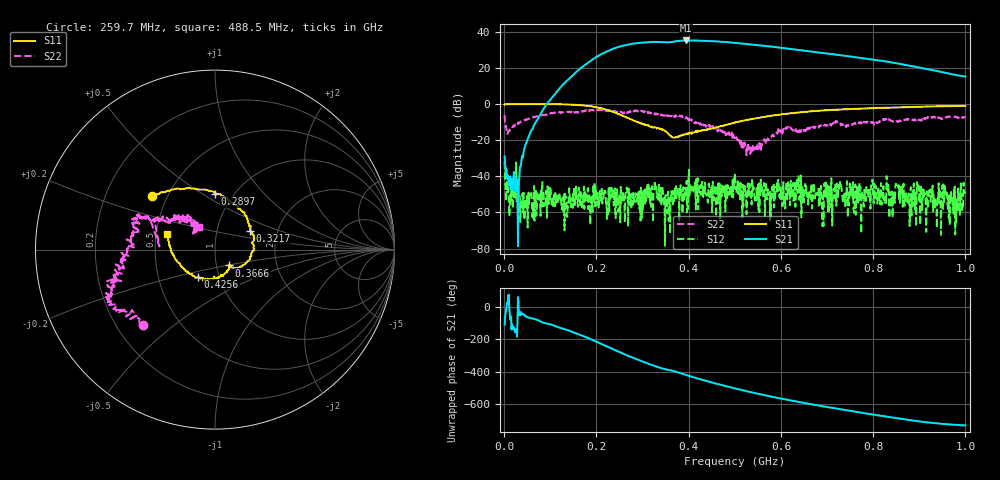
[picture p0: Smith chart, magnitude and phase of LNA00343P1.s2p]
! Created with skrf 1.9.0 (http://scikit-rf.org).
# Hz S RI R 50.0
!freq ReS11 ImS11 ReS21 ImS21 ReS12 ImS12 ReS22 ImS22
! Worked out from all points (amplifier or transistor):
!   1001 points, 1 MHz to 1 GHz, reference 50 ohm
!   highest |S21| = 35.3 dB at 394.6 MHz (marker M1)
!   |S21| within 3 dB of that: 256.4 MHz to 565.3 MHz (308.8 MHz wide, 75.2 % of centre)
!   unconditionally stable (mu >= 1): start of sweep to 81.26 MHz; 252.8 MHz to 326.6 MHz; 400.7 MHz to end of sweep (the widest 3 of 30)
!   at 166.8 MHz: K = 0.89, MSG = 35.4 dB, |S12| = -50.7 dB
!   at 500.5 MHz: K = 1.01, MAG = 35.5 dB, |S12| = -38.3 dB
!   at 1 GHz: K = 3.90, MAG = 23.0 dB, |S12| = -48.4 dB
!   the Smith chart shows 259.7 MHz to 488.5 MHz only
!   S11 on the Smith chart (normalised r, x): 259.7 MHz: 0.41, +0.31; 289.7 MHz: 0.82, +0.57; 321.7 MHz: 1.44, +0.32; 366.6 MHz: 1.15, -0.21; 425.6 MHz: 0.80, -0.25; 488.5 MHz: 0.57, +0.11
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1000000  0.9745 -0.00079  -0.0133 -0.0331  -0.0162 0.0186  0.3537 0.3505
1.08892e8  0.5113 -0.8513  -0.8527 -1.596  -0.00148 0.00116  0.4314 -0.3682
1.67833e8  -0.2462 -0.8936  -10.36 -0.4835  0.00272 -0.00111  0.0529 -0.6306
1.96804e8  -0.5925 -0.5833  -16.08 10.25  0.00123 -0.000832  -0.1267 -0.6974
2.15785e8  -0.685 -0.2728  -14.6 21.58  -0.00176 -0.00265  -0.2036 -0.6426
2.39761e8  -0.572 0.1028  -1.755 35.43  -0.00167 -0.00433  -0.3077 -0.5491
2.59741e8  -0.3485 0.2974  15.77 38.74  -0.000994 -0.00254  -0.401 -0.4183
2.89711e8  -0.000133 0.3098  40.91 26.97  0.000536 -0.00266  -0.5729 -0.2454
3.21679e8  0.195 0.1064  52.67 -0.7801  0.00236 -0.00187  -0.5533 -0.1653
3.34666e8  0.2168 0.00308  51.21 -12.07  -0.00119 0.00367  -0.5002 -0.0581
3.66634e8  0.0786 -0.0881  43.51 -31.06  -0.00152 0.0016  -0.4307 0.1188
3.94606e8  0.0457 -0.1431  28.3 -50.54  -0.000202 0.00406  -0.3974 0.1811
4.25575e8  -0.0931 -0.1507  2.816 -56.94  0.00572 5.61e-05  -0.2473 0.161
4.53547e8  -0.2003 -0.0762  -18.02 -51.93  0.00398 -0.000106  -0.1314 0.1746
4.88512e8  -0.2658 0.0893  -36.02 -36.38  0.00295 0.00377  -0.0891 0.1245
5.005e8  -0.2715 0.1615  -40.08 -29.84  0.00993 0.00705  -0.0684 0.0715
5.4046e8  -0.1782 0.3496  -43.53 -8.085  0.00484 -0.00151  -0.0521 0.00237
5.88412e8  0.0267 0.495  -35.84 12.27  0.00372 -0.00181  -0.1171 -0.0918
6.67333e8  0.4015 0.489  -13.59 24.67  -0.000108 -0.00129  -0.2168 -0.0554
7.53247e8  0.6764 0.2779  4.319 20.08  -0.00334 -0.00435  -0.2716 -0.013
8.34166e8  0.7961 0.0156  11.02 9.737  -0.000325 -0.00281  -0.367 -0.0257
1e9  0.7283 -0.5212  5.695 -1.036  -0.0018 -0.00333  -0.3273 0.2918
